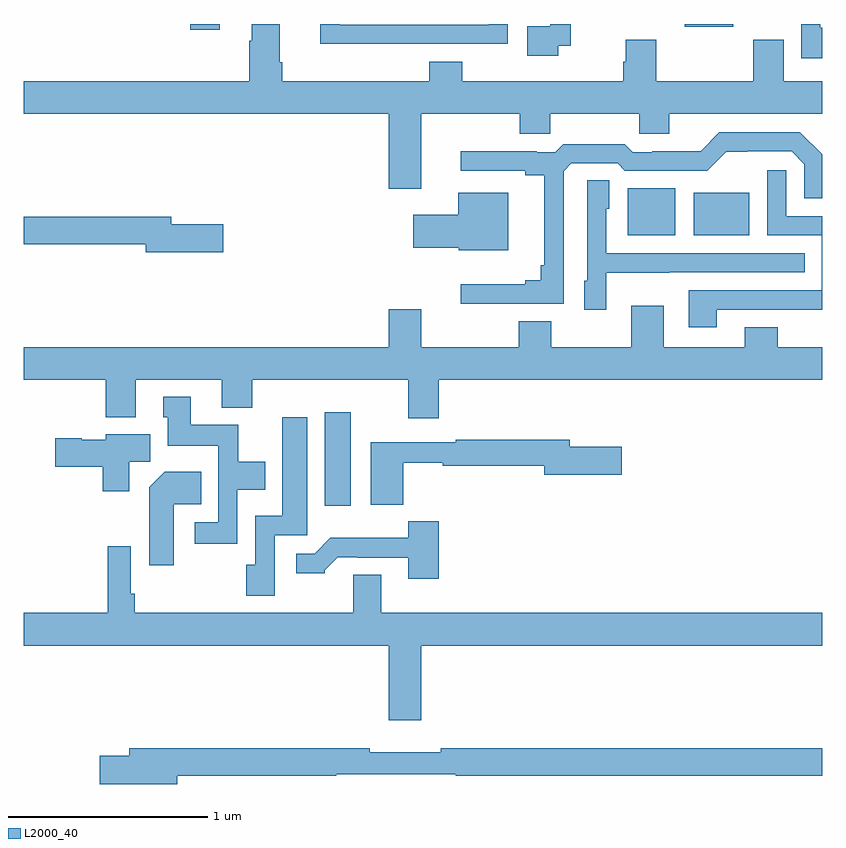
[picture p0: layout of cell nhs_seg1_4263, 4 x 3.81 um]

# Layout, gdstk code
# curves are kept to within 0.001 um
import gdstk
lib = gdstk.Library(unit=1e-6, precision=1e-09)
def R(c, l, rs):  # rectangles x0, y0, x1, y1
    for r in rs: c.add(gdstk.rectangle(r[:2], r[2:], *l))
def P(c, l, *ps):  # polygons
    for p in ps: c.add(gdstk.Polygon(p, *l))
L2000_40 = (2000, 40)

nhs_seg1_4263 = lib.new_cell('nhs_seg1_4263')
R(nhs_seg1_4263, L2000_40, [(344.507,533.784,344.638,534.253), (346.025,535.139,346.264,535.375), (346.358,535.139,346.636,535.354), (343.833,536.169,343.981,536.199), (346.312,536.186,346.555,536.199)])
P(nhs_seg1_4263, L2000_40, [(347,536.179),(346.992,536.179),(346.992,536.199),(346.896,536.199),(346.896,536.028),(347,536.028)],
  [(344.992,535.748),(345.484,535.748),(345.484,535.65),(345.639,535.65),(345.639,535.748),(346.084,535.748),(346.084,535.65),(346.234,535.65),(346.234,535.748),(347,535.748),(347,535.912),(346.807,535.912),(346.807,536.12),(346.655,536.12),(346.655,535.912),(346.169,535.912),(346.169,536.12),(346.016,536.12),(346.016,536.01),(346.004,536.01),(346.004,535.912),(345.197,535.912),(345.197,536.011),(345.032,536.011),(345.032,535.912),(344.294,535.912),(344.294,536.008),(344.281,536.008),(344.281,536.199),(344.141,536.199),(344.141,536.114),(344.129,536.114),(344.129,535.912),(343,535.912),(343,535.748),(344.828,535.748),(344.828,535.374),(344.992,535.374)],
  [(345.678,536.091),(345.74,536.091),(345.74,536.199),(345.639,536.199),(345.639,536.187),(345.522,536.187),(345.522,536.04),(345.678,536.04)],
  [(344.948,536.1),(345.426,536.1),(345.426,536.199),(345.33,536.199),(345.33,536.196),(344.583,536.196),(344.583,536.199),(344.486,536.199),(344.486,536.099),(344.948,536.099)],
  [(345.705,535.461),(345.744,535.5),(345.975,535.5),(346.011,535.464),(346.425,535.464),(346.52,535.559),(346.848,535.56),(346.911,535.497),(346.911,535.326),(347,535.326),(347,535.545),(346.888,535.656),(346.485,535.656),(346.391,535.562),(346.15,535.562),(346.15,535.557),(346.05,535.557),(346.011,535.597),(345.703,535.597),(345.663,535.557),(345.569,535.557),(345.569,535.562),(345.189,535.562),(345.189,535.464),(345.512,535.464),(345.512,535.442),(345.608,535.442),(345.608,534.991),(345.589,534.991),(345.589,534.914),(345.512,534.914),(345.512,534.895),(345.189,534.895),(345.189,534.798),(345.705,534.798)],
  [(346.471,534.768),(346.901,534.768),(346.901,534.767),(347,534.767),(347,535.236),(346.821,535.236),(346.821,535.465),(346.725,535.465),(346.725,535.14),(346.998,535.14),(346.998,534.864),(346.331,534.864),(346.331,534.678),(346.471,534.678)],
  [(345.918,534.953),(346.235,534.953),(346.235,534.954),(346.913,534.954),(346.913,535.05),(345.918,535.05),(345.918,535.272),(345.934,535.272),(345.934,535.415),(345.822,535.415),(345.822,534.912),(345.809,534.912),(345.809,534.768),(345.918,534.768)],
  [(345.427,535.354),(345.176,535.354),(345.176,535.243),(344.952,535.243),(344.952,535.078),(345.18,535.078),(345.18,535.064),(345.427,535.064)],
  [(343.999,535.196),(343.738,535.196),(343.738,535.232),(343,535.232),(343,535.096),(343.61,535.096),(343.61,535.054),(343.999,535.054)],
  [(345.08,534.416),(347,534.416),(347,534.58),(346.777,534.58),(346.777,534.679),(346.613,534.679),(346.613,534.58),(346.207,534.58),(346.207,534.787),(346.043,534.787),(346.043,534.58),(345.643,534.58),(345.643,534.709),(345.479,534.709),(345.479,534.58),(344.992,534.58),(344.992,534.769),(344.828,534.769),(344.828,534.58),(343,534.58),(343,534.416),(343.409,534.416),(343.409,534.227),(343.561,534.227),(343.561,534.416),(343.991,534.416),(343.991,534.275),(344.144,534.275),(344.144,534.416),(344.927,534.416),(344.927,534.222),(345.08,534.222)],
  [(344.07,533.864),(344.209,533.864),(344.209,534.004),(344.073,534.004),(344.073,534.19),(343.837,534.19),(343.837,534.331),(343.697,534.331),(343.697,534.228),(343.721,534.228),(343.721,534.086),(343.974,534.086),(343.974,533.703),(343.857,533.703),(343.857,533.595),(344.07,533.595)],
  [(344.256,533.637),(344.419,533.637),(344.419,534.229),(344.294,534.229),(344.294,533.734),(344.16,533.734),(344.16,533.49),(344.113,533.49),(344.113,533.334),(344.256,533.334)],
  [(343.528,534.004),(343.633,534.004),(343.633,534.142),(343.41,534.142),(343.41,534.115),(343.29,534.115),(343.29,534.123),(343.158,534.123),(343.158,533.981),(343.394,533.981),(343.394,533.856),(343.528,533.856)],
  [(344.9,534.001),(345.098,534.001),(345.098,533.986),(345.608,533.986),(345.608,533.939),(345.997,533.939),(345.997,534.081),(345.736,534.081),(345.736,534.115),(345.163,534.115),(345.163,534.102),(344.738,534.102),(344.738,533.789),(344.9,533.789)],
  [(343.75,533.792),(343.889,533.792),(343.889,533.956),(343.706,533.956),(343.628,533.878),(343.628,533.487),(343.75,533.487)],
  [(345.08,533.707),(344.925,533.707),(344.925,533.623),(344.536,533.623),(344.457,533.544),(344.364,533.544),(344.364,533.447),(344.508,533.447),(344.508,533.462),(344.572,533.526),(344.671,533.526),(344.671,533.523),(344.927,533.523),(344.927,533.418),(345.08,533.418)],
  [(344.992,533.084),(347,533.084),(347,533.248),(344.791,533.248),(344.791,533.438),(344.651,533.438),(344.651,533.248),(343.556,533.248),(343.556,533.344),(343.536,533.344),(343.536,533.581),(343.42,533.581),(343.42,533.248),(343,533.248),(343,533.084),(344.828,533.084),(344.828,532.71),(344.992,532.71)],
  [(343.768,532.432),(344.564,532.432),(344.564,532.44),(345.164,532.44),(345.164,532.432),(347,532.432),(347,532.568),(345.088,532.568),(345.088,532.549),(344.732,532.549),(344.732,532.568),(343.529,532.568),(343.529,532.532),(343.38,532.532),(343.38,532.39),(343.768,532.39)])

lib.write_gds('nhs_seg1_4263.gds')
